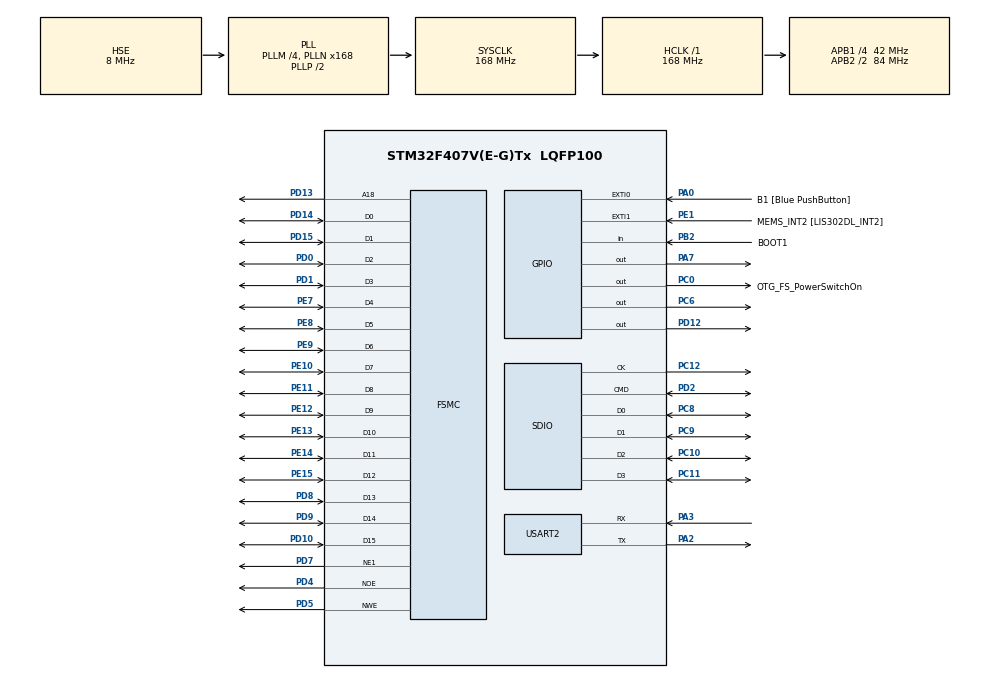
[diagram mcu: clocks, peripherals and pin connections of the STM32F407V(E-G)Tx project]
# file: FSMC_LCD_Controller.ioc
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FATFS.BSP.number=1
FATFS._FS_LOCK=5
FATFS._MAX_SS=4096
FATFS._USE_LFN=1
FATFS0.BSP.STBoard=false
FATFS0.BSP.api=Unknown
FATFS0.BSP.i2caddr=0
FATFS0.BSP.instance=PB2
FATFS0.BSP.ip=GPIO
FATFS0.BSP.mode=Input
FATFS0.BSP.name=Detect_SDIO
FATFS0.BSP.solution=PB2
FSMC.AddressSetupTime1=6
FSMC.BusTurnAroundDuration1=0
FSMC.DataSetupTime1=3
Mcu.Family=STM32F4
Mcu.Name=STM32F407V(E-G)Tx
Mcu.Package=LQFP100
NVIC.PriorityGroup=NVIC_PRIORITYGROUP_0
NVIC.TIM1_BRK_TIM9_IRQn=true\:0\:0\:false\:false\:true\:true\:true
NVIC.TIM6_DAC_IRQn=true\:0\:0\:false\:false\:true\:false\:true
NVIC.TimeBase=TIM6_DAC_IRQn
NVIC.TimeBaseIP=TIM6
NVIC.USART2_IRQn=true\:0\:0\:false\:false\:true\:true\:true
PA0-WKUP.GPIO_Label=B1 [Blue PushButton]
PA0-WKUP.Signal=GPXTI0
PA10.GPIO_Label=OTG_FS_ID
PA10.GPIO_Mode=GPIO_MODE_AF_PP
PA10.GPIO_PuPd=GPIO_NOPULL
PA10.GPIO_Speed=GPIO_SPEED_FREQ_LOW
PA10.Signal=USB_OTG_FS_ID
PA11.GPIO_Label=OTG_FS_DM
PA11.GPIO_Mode=GPIO_MODE_AF_PP
PA11.GPIO_PuPd=GPIO_NOPULL
PA11.GPIO_Speed=GPIO_SPEED_FREQ_LOW
PA11.Signal=USB_OTG_FS_DM
PA12.GPIO_Label=OTG_FS_DP
PA12.GPIO_Mode=GPIO_MODE_AF_PP
PA12.GPIO_PuPd=GPIO_NOPULL
PA12.GPIO_Speed=GPIO_SPEED_FREQ_LOW
PA12.Signal=USB_OTG_FS_DP
PA13.GPIO_Label=SWDIO
PA13.Mode=Trace_Asynchronous_SW
PA13.Signal=SYS_JTMS-SWDIO
PA14.GPIO_Label=SWCLK
PA14.Mode=Trace_Asynchronous_SW
PA14.Signal=SYS_JTCK-SWCLK
PA2.Mode=Asynchronous
PA2.Signal=USART2_TX
PA3.Mode=Asynchronous
PA3.Signal=USART2_RX
PA4.GPIO_Label=I2S3_WS [CS43L22_LRCK]
PA4.GPIO_Mode=GPIO_MODE_AF_PP
PA4.GPIO_PuPd=GPIO_NOPULL
PA4.GPIO_Speed=GPIO_SPEED_FREQ_LOW
PA4.Signal=I2S3_WS
PA5.GPIO_Label=SPI1_SCK [LIS302DL_SCL/SPC]
PA5.GPIO_Mode=GPIO_MODE_AF_PP
PA5.GPIO_PuPd=GPIO_NOPULL
PA5.GPIO_Speed=GPIO_SPEED_FREQ_LOW
PA5.Signal=SPI1_SCK
PA6.GPIO_Label=SPI1_MISO [LIS302DL_SDO]
PA6.GPIO_Mode=GPIO_MODE_AF_PP
PA6.GPIO_PuPd=GPIO_NOPULL
PA6.GPIO_Speed=GPIO_SPEED_FREQ_LOW
PA6.Signal=SPI1_MISO
PA7.Signal=GPIO_Output
PA9.GPIO_Label=VBUS_FS
PA9.GPIO_Mode=GPIO_MODE_INPUT
PA9.GPIO_PuPd=GPIO_NOPULL
PA9.Signal=USB_OTG_FS_VBUS
PB10.GPIO_Label=CLK_IN [MP45DT02_CLK]
PB10.GPIO_Mode=GPIO_MODE_AF_PP
PB10.GPIO_PuPd=GPIO_NOPULL
PB10.GPIO_Speed=GPIO_SPEED_FREQ_LOW
PB10.Signal=I2S2_CK
PB2.GPIO_Label=BOOT1
PB2.GPIO_Mode=GPIO_MODE_INPUT
PB2.GPIO_PuPd=GPIO_NOPULL
PB2.Signal=GPIO_Input
PB3.GPIO_Label=SWO
PB3.Mode=Trace_Asynchronous_SW
PB3.Signal=SYS_JTDO-SWO
PB6.GPIO_Label=Audio_SCL [CS43L22_SCL]
PB6.GPIO_Mode=GPIO_MODE_AF_OD
PB6.GPIO_PuPd=GPIO_NOPULL
PB6.GPIO_Speed=GPIO_SPEED_FREQ_LOW
PB6.Signal=I2C1_SCL
PC0.GPIO_Label=OTG_FS_PowerSwitchOn
PC0.GPIO_PuPd=GPIO_NOPULL
PC0.GPIO_Speed=GPIO_SPEED_FREQ_LOW
PC0.PinState=GPIO_PIN_SET
PC0.Signal=GPIO_Output
PC10.Mode=SD_4_bits_Wide_bus
PC10.Signal=SDIO_D2
PC11.Mode=SD_4_bits_Wide_bus
PC11.Signal=SDIO_D3
PC12.Mode=SD_4_bits_Wide_bus
PC12.Signal=SDIO_CK
PC14-OSC32_IN.GPIO_Label=PC14-OSC32_IN
PC14-OSC32_IN.Signal=RCC_OSC32_IN
PC15-OSC32_OUT.GPIO_Label=PC15-OSC32_OUT
PC15-OSC32_OUT.Signal=RCC_OSC32_OUT
PC3.GPIO_Label=PDM_OUT [MP45DT02_DOUT]
PC3.GPIO_Mode=GPIO_MODE_AF_PP
PC3.GPIO_PuPd=GPIO_NOPULL
PC3.GPIO_Speed=GPIO_SPEED_FREQ_LOW
PC3.Signal=I2S2_SD
PC6.Signal=GPIO_Output
PC8.Mode=SD_4_bits_Wide_bus
PC8.Signal=SDIO_D0
PC9.Mode=SD_4_bits_Wide_bus
PC9.Signal=SDIO_D1
PD0.Mode=16b-d1
PD0.Signal=FSMC_D2
PD1.Mode=16b-d1
PD1.Signal=FSMC_D3
PD10.Mode=16b-d1
PD10.Signal=FSMC_D15
PD12.Signal=GPIO_Output
PD13.Mode=A18_1
PD13.Signal=FSMC_A18
PD14.Mode=16b-d1
PD14.Signal=FSMC_D0
PD15.Mode=16b-d1
PD15.Signal=FSMC_D1
PD2.Mode=SD_4_bits_Wide_bus
PD2.Signal=SDIO_CMD
PD4.Mode=Lcd1
PD4.Signal=FSMC_NOE
PD5.Mode=Lcd1
PD5.Signal=FSMC_NWE
PD7.Mode=NorPsramChipSelect1_1
PD7.Signal=FSMC_NE1
PD8.Mode=16b-d1
PD8.Signal=FSMC_D13
PD9.Mode=16b-d1
PD9.Signal=FSMC_D14
PE1.GPIO_Label=MEMS_INT2 [LIS302DL_INT2]
PE1.GPIO_ModeDefaultEXTI=GPIO_MODE_EVT_RISING
PE1.GPIO_PuPd=GPIO_NOPULL
PE1.Signal=GPXTI1
PE10.Mode=16b-d1
PE10.Signal=FSMC_D7
PE11.Mode=16b-d1
PE11.Signal=FSMC_D8
PE12.Mode=16b-d1
PE12.Signal=FSMC_D9
PE13.Mode=16b-d1
PE13.Signal=FSMC_D10
PE14.Mode=16b-d1
PE14.Signal=FSMC_D11
PE15.Mode=16b-d1
PE15.Signal=FSMC_D12
PE7.Mode=16b-d1
PE7.Signal=FSMC_D4
PE8.Mode=16b-d1
PE8.Signal=FSMC_D5
PE9.Mode=16b-d1
PE9.Signal=FSMC_D6
PH0-OSC_IN.GPIO_Label=PH0-OSC_IN
PH0-OSC_IN.Mode=HSE-External-Oscillator
PH0-OSC_IN.Signal=RCC_OSC_IN
PH1-OSC_OUT.GPIO_Label=PH1-OSC_OUT
PH1-OSC_OUT.Mode=HSE-External-Oscillator
PH1-OSC_OUT.Signal=RCC_OSC_OUT
ProjectManager.HeapSize=0x200
ProjectManager.StackSize=0x400
ProjectManager.TargetToolchain=STM32CubeIDE
RCC.48MHZClocksFreq_Value=48000000
RCC.AHBFreq_Value=168000000
RCC.APB1CLKDivider=RCC_HCLK_DIV4
RCC.APB1Freq_Value=42000000
RCC.APB1TimFreq_Value=84000000
RCC.APB2CLKDivider=RCC_HCLK_DIV2
RCC.APB2Freq_Value=84000000
RCC.APB2TimFreq_Value=168000000
RCC.CortexFreq_Value=168000000
RCC.HCLKFreq_Value=168000000
RCC.HSE_VALUE=8000000
RCC.HSI_VALUE=16000000
RCC.LSE_VALUE=32768
RCC.PLLM=4
RCC.PLLN=168
RCC.PLLQ=7
RCC.PLLSourceVirtual=RCC_PLLSOURCE_HSE
RCC.RCC_RTC_Clock_Source=RCC_RTCCLKSOURCE_LSI
RCC.RCC_RTC_Clock_SourceVirtual=RCC_RTCCLKSOURCE_LSE
RCC.SYSCLKFreq_VALUE=168000000
RCC.SYSCLKSource=RCC_SYSCLKSOURCE_PLLCLK
RCC.VCOOutputFreq_Value=336000000
TIM9.Period=5713
TIM9.Prescaler=209
USART2.VirtualMode=VM_ASYNC
VP_FATFS_VS_SDIO.Mode=SDIO
VP_LIBJPEG_VS_JPEGLIB.Mode=Enabled
VP_SYS_VS_tim6.Mode=TIM6
VP_TIM9_VS_ClockSourceINT.Mode=Internal
board=STM32F407G-DISC1

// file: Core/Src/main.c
/* USER CODE BEGIN Header */
/**
  ******************************************************************************
  * @file           : main.c
  * @brief          : Program connects to a LCD screen using FSMC and performs a screen display demo.
  * 				  Program is configured for an ILI9341 device using 16-bit parallel interface.
  ******************************************************************************
  * @attention
  *
  * <h2><center>&copy; Copyright (c) 2020 STMicroelectronics.
  * All rights reserved.</center></h2>
  *
  * This software component is licensed by ST under BSD 3-Clause license,
  * the "License"; You may not use this file except in compliance with the
  * License. You may obtain a copy of the License at:
  *                        opensource.org/licenses/BSD-3-Clause
  *
  ******************************************************************************
  */
/* USER CODE END Header */

#include "main.h"
#include "fatfs.h"
#include "libjpeg.h"

/* USER CODE BEGIN Includes */
#include "MA_ILI9341.h"
#include "ColorCycle.h"
/* USER CODE END Includes */

SD_HandleTypeDef hsd;

TIM_HandleTypeDef htim9;

UART_HandleTypeDef huart2;

SRAM_HandleTypeDef hsram1;

/* USER CODE BEGIN PV */

char user_msg[100];
uint8_t framebuffer[76800];

extern const tImage frame_00_delays;
extern const tImage frame_03_delays;
extern const tImage frame_06_delays;
extern const tImage frame_09_delays;
extern const tImage frame_12_delays;

/* USER CODE END PV */

void SystemClock_Config(void);
static void MX_GPIO_Init(void);
static void MX_FSMC_Init(void);
static void MX_SDIO_SD_Init(void);
static void MX_USART2_UART_Init(void);
static void MX_TIM9_Init(void);
/* USER CODE BEGIN PFP */
long map(long x, long in_min, long in_max, long out_min, long out_max);
/* USER CODE END PFP */

/* USER CODE BEGIN 0 */

long map(long x, long in_min, long in_max, long out_min, long out_max)
{
  return (x - in_min) * (out_max - out_min) / (in_max - in_min) + out_min;
}

/* USER CODE END 0 */

int main(void)
{

  /* MCU Configuration--------------------------------------------------------*/

  /* Reset of all peripherals, Initializes the Flash interface and the Systick. */
  HAL_Init();

  /* Configure the system clock */
  SystemClock_Config();

  /* Initialize all configured peripherals */
  MX_GPIO_Init();
  MX_FSMC_Init();
  MX_SDIO_SD_Init();
  MX_FATFS_Init();
  MX_LIBJPEG_Init();
  MX_USART2_UART_Init();
  MX_TIM9_Init();
  /* USER CODE BEGIN 2 */

  //Reset the LCD
  GPIOC->ODR &= ~(1 << 6);
  HAL_Delay(100);
  GPIOC->ODR |= (1 << 6);

  //Initialize and turn on LCD
  ILI9341_Init();

  //Set screen orientation to landscape and set frame writing area
  ILI9341_setRotation(2);
  ILI9341_SendCommand (ILI9341_COLUMN_ADDR); // column set
  ILI9341_SendData   (0x00); // y0_HIGH---0
  ILI9341_SendData   (0x00); // y0_LOW----0
  ILI9341_SendData   (0x01); // y1_HIGH---320
  ILI9341_SendData   (0x3F); // y1_LOW----320
  ILI9341_SendCommand (ILI9341_PAGE_ADDR); // page address set
  ILI9341_SendData   (0x00); // x0_HIGH---0
  ILI9341_SendData   (0x00); // x0_LOW----0
  ILI9341_SendData   (0x00); // x1_HIGH---240
  ILI9341_SendData   (0xEF); // x1_LOW----240
  HAL_Delay(100);

//  //Start 70Hz timer
//  HAL_TIM_Base_Start_IT(&htim9);

//  //Perform 60 alternating screen color cycles
//  for(int i = 0; i < 30; i++) {
//	  ILI9341_Fill(COLOR_BLUE);
//	  ILI9341_Fill(COLOR_RED);
//  }

  //Start color hue rotation demo
  uint16_t color = 0;
  CRGB rgb;

  while(true) {
	  rgb.r = 0;
	  rgb.b	= 255;
	  rgb.g = 0;

	  for(int p = 0; p < 30; p++) {
		  rgb = TransformH(&rgb, p);
	  }

	  for(int k = 0; k < 50; k++) {
		  rgb = TransformH(&rgb, k);

		  rgb.r2 = map(rgb.r, 0, 255, 0, 31);
		  rgb.g2 = map(rgb.g, 0, 255, 0, 31);
		  rgb.b2 = map(rgb.b, 0, 255, 0, 31);

	  	  color = 0;
	  	  color |= (rgb.r2 << 11);
	  	  color |= (rgb.g2 << 5);
	  	  color |= rgb.b2;

	  	  for(int i =0; i < 320; i++) {
			  for(int j = 0; j < 240; j++) {
				  ILI9341_DrawPixel(i, j, color);
			  }
		  }
	  }

  }

//  //Display picture animation
//  uint32_t delay = 75;
//  while (1)
//  {
//	  ILI9341_Display_Image(&frame_00_delays, 76800);
//	  HAL_Delay(delay);
//	  ILI9341_Display_Image(&frame_03_delays, 76800);
//	  HAL_Delay(delay);
//	  ILI9341_Display_Image(&frame_06_delays, 76800);
//	  HAL_Delay(delay);
//	  ILI9341_Display_Image(&frame_09_delays, 76800);
//	  HAL_Delay(delay);
//	  ILI9341_Display_Image(&frame_12_delays, 76800);
//	  HAL_Delay(delay);
//
//	  ILI9341_Fill(COLOR_BLACK);
//	  HAL_Delay(delay);
//	  ILI9341_Fill(COLOR_BLACK);
//	  HAL_Delay(delay);
//	  ILI9341_Fill(COLOR_BLACK);
//	  HAL_Delay(delay);
//	  ILI9341_Fill(COLOR_BLACK);
//	  HAL_Delay(delay);
//	  ILI9341_Fill(COLOR_BLACK);
//	  HAL_Delay(delay);
//  }

  /* USER CODE END 2 */

  /* Infinite loop */
  while (1)
  {

  }
}

void SystemClock_Config(void)
{
  RCC_OscInitTypeDef RCC_OscInitStruct = {0};
  RCC_ClkInitTypeDef RCC_ClkInitStruct = {0};

  /** Configure the main internal regulator output voltage
  */
  __HAL_RCC_PWR_CLK_ENABLE();
  __HAL_PWR_VOLTAGESCALING_CONFIG(PWR_REGULATOR_VOLTAGE_SCALE1);
  /** Initializes the CPU, AHB and APB busses clocks
  */
  RCC_OscInitStruct.OscillatorType = RCC_OSCILLATORTYPE_HSE;
  RCC_OscInitStruct.HSEState = RCC_HSE_ON;
  RCC_OscInitStruct.PLL.PLLState = RCC_PLL_ON;
  RCC_OscInitStruct.PLL.PLLSource = RCC_PLLSOURCE_HSE;
  RCC_OscInitStruct.PLL.PLLM = 4;
  RCC_OscInitStruct.PLL.PLLN = 168;
  RCC_OscInitStruct.PLL.PLLP = RCC_PLLP_DIV2;
  RCC_OscInitStruct.PLL.PLLQ = 7;
  if (HAL_RCC_OscConfig(&RCC_OscInitStruct) != HAL_OK)
  {
    Error_Handler();
  }
  /** Initializes the CPU, AHB and APB busses clocks
  */
  RCC_ClkInitStruct.ClockType = RCC_CLOCKTYPE_HCLK|RCC_CLOCKTYPE_SYSCLK
                              |RCC_CLOCKTYPE_PCLK1|RCC_CLOCKTYPE_PCLK2;
  RCC_ClkInitStruct.SYSCLKSource = RCC_SYSCLKSOURCE_PLLCLK;
  RCC_ClkInitStruct.AHBCLKDivider = RCC_SYSCLK_DIV1;
  RCC_ClkInitStruct.APB1CLKDivider = RCC_HCLK_DIV4;
  RCC_ClkInitStruct.APB2CLKDivider = RCC_HCLK_DIV2;

  if (HAL_RCC_ClockConfig(&RCC_ClkInitStruct, FLASH_LATENCY_5) != HAL_OK)
  {
    Error_Handler();
  }
}

static void MX_SDIO_SD_Init(void)
{

  hsd.Instance = SDIO;
  hsd.Init.ClockEdge = SDIO_CLOCK_EDGE_RISING;
  hsd.Init.ClockBypass = SDIO_CLOCK_BYPASS_DISABLE;
  hsd.Init.ClockPowerSave = SDIO_CLOCK_POWER_SAVE_DISABLE;
  hsd.Init.BusWide = SDIO_BUS_WIDE_1B;
  hsd.Init.HardwareFlowControl = SDIO_HARDWARE_FLOW_CONTROL_DISABLE;
  hsd.Init.ClockDiv = 0;

}

static void MX_TIM9_Init(void)
{

  TIM_ClockConfigTypeDef sClockSourceConfig = {0};

  htim9.Instance = TIM9;
  htim9.Init.Prescaler = 209;
  htim9.Init.CounterMode = TIM_COUNTERMODE_UP;
  htim9.Init.Period = 5713;
  htim9.Init.ClockDivision = TIM_CLOCKDIVISION_DIV1;
  htim9.Init.AutoReloadPreload = TIM_AUTORELOAD_PRELOAD_DISABLE;
  if (HAL_TIM_Base_Init(&htim9) != HAL_OK)
  {
    Error_Handler();
  }
  sClockSourceConfig.ClockSource = TIM_CLOCKSOURCE_INTERNAL;
  if (HAL_TIM_ConfigClockSource(&htim9, &sClockSourceConfig) != HAL_OK)
  {
    Error_Handler();
  }

}

static void MX_USART2_UART_Init(void)
{

  huart2.Instance = USART2;
  huart2.Init.BaudRate = 115200;
  huart2.Init.WordLength = UART_WORDLENGTH_8B;
  huart2.Init.StopBits = UART_STOPBITS_1;
  huart2.Init.Parity = UART_PARITY_NONE;
  huart2.Init.Mode = UART_MODE_TX_RX;
  huart2.Init.HwFlowCtl = UART_HWCONTROL_NONE;
  huart2.Init.OverSampling = UART_OVERSAMPLING_16;
  if (HAL_UART_Init(&huart2) != HAL_OK)
  {
    Error_Handler();
  }

}

static void MX_GPIO_Init(void)
{
  GPIO_InitTypeDef GPIO_InitStruct = {0};

  /* GPIO Ports Clock Enable */
  __HAL_RCC_GPIOC_CLK_ENABLE();
  __HAL_RCC_GPIOH_CLK_ENABLE();
  __HAL_RCC_GPIOA_CLK_ENABLE();
  __HAL_RCC_GPIOB_CLK_ENABLE();
  __HAL_RCC_GPIOE_CLK_ENABLE();
  __HAL_RCC_GPIOD_CLK_ENABLE();

  /*Configure GPIO pin Output Level */
  HAL_GPIO_WritePin(OTG_FS_PowerSwitchOn_GPIO_Port, OTG_FS_PowerSwitchOn_Pin, GPIO_PIN_SET);

  /*Configure GPIO pin Output Level */
  HAL_GPIO_WritePin(GPIOA, GPIO_PIN_7, GPIO_PIN_RESET);

  /*Configure GPIO pin Output Level */
  HAL_GPIO_WritePin(GPIOD, GPIO_PIN_12, GPIO_PIN_RESET);

  /*Configure GPIO pin Output Level */
  HAL_GPIO_WritePin(GPIOC, GPIO_PIN_6, GPIO_PIN_RESET);

  /*Configure GPIO pins : OTG_FS_PowerSwitchOn_Pin PC6 */
  GPIO_InitStruct.Pin = OTG_FS_PowerSwitchOn_Pin|GPIO_PIN_6;
  GPIO_InitStruct.Mode = GPIO_MODE_OUTPUT_PP;
  GPIO_InitStruct.Pull = GPIO_NOPULL;
  GPIO_InitStruct.Speed = GPIO_SPEED_FREQ_LOW;
  HAL_GPIO_Init(GPIOC, &GPIO_InitStruct);

  /*Configure GPIO pin : PDM_OUT_Pin */
  GPIO_InitStruct.Pin = PDM_OUT_Pin;
  GPIO_InitStruct.Mode = GPIO_MODE_AF_PP;
  GPIO_InitStruct.Pull = GPIO_NOPULL;
  GPIO_InitStruct.Speed = GPIO_SPEED_FREQ_LOW;
  GPIO_InitStruct.Alternate = GPIO_AF5_SPI2;
  HAL_GPIO_Init(PDM_OUT_GPIO_Port, &GPIO_InitStruct);

  /*Configure GPIO pin : B1_Pin */
  GPIO_InitStruct.Pin = B1_Pin;
  GPIO_InitStruct.Mode = GPIO_MODE_IT_RISING;
  GPIO_InitStruct.Pull = GPIO_NOPULL;
  HAL_GPIO_Init(B1_GPIO_Port, &GPIO_InitStruct);

  /*Configure GPIO pin : I2S3_WS_Pin */
  GPIO_InitStruct.Pin = I2S3_WS_Pin;
  GPIO_InitStruct.Mode = GPIO_MODE_AF_PP;
  GPIO_InitStruct.Pull = GPIO_NOPULL;
  GPIO_InitStruct.Speed = GPIO_SPEED_FREQ_LOW;
  GPIO_InitStruct.Alternate = GPIO_AF6_SPI3;
  HAL_GPIO_Init(I2S3_WS_GPIO_Port, &GPIO_InitStruct);

  /*Configure GPIO pins : SPI1_SCK_Pin SPI1_MISO_Pin */
  GPIO_InitStruct.Pin = SPI1_SCK_Pin|SPI1_MISO_Pin;
  GPIO_InitStruct.Mode = GPIO_MODE_AF_PP;
  GPIO_InitStruct.Pull = GPIO_NOPULL;
  GPIO_InitStruct.Speed = GPIO_SPEED_FREQ_LOW;
  GPIO_InitStruct.Alternate = GPIO_AF5_SPI1;
  HAL_GPIO_Init(GPIOA, &GPIO_InitStruct);

  /*Configure GPIO pin : PA7 */
  GPIO_InitStruct.Pin = GPIO_PIN_7;
  GPIO_InitStruct.Mode = GPIO_MODE_OUTPUT_PP;
  GPIO_InitStruct.Pull = GPIO_NOPULL;
  GPIO_InitStruct.Speed = GPIO_SPEED_FREQ_LOW;
  HAL_GPIO_Init(GPIOA, &GPIO_InitStruct);

  /*Configure GPIO pin : BOOT1_Pin */
  GPIO_InitStruct.Pin = BOOT1_Pin;
  GPIO_InitStruct.Mode = GPIO_MODE_INPUT;
  GPIO_InitStruct.Pull = GPIO_NOPULL;
  HAL_GPIO_Init(BOOT1_GPIO_Port, &GPIO_InitStruct);

  /*Configure GPIO pin : CLK_IN_Pin */
  GPIO_InitStruct.Pin = CLK_IN_Pin;
  GPIO_InitStruct.Mode = GPIO_MODE_AF_PP;
  GPIO_InitStruct.Pull = GPIO_NOPULL;
  GPIO_InitStruct.Speed = GPIO_SPEED_FREQ_LOW;
  GPIO_InitStruct.Alternate = GPIO_AF5_SPI2;
  HAL_GPIO_Init(CLK_IN_GPIO_Port, &GPIO_InitStruct);

  /*Configure GPIO pin : PD12 */
  GPIO_InitStruct.Pin = GPIO_PIN_12;
  GPIO_InitStruct.Mode = GPIO_MODE_OUTPUT_PP;
  GPIO_InitStruct.Pull = GPIO_NOPULL;
  GPIO_InitStruct.Speed = GPIO_SPEED_FREQ_LOW;
  HAL_GPIO_Init(GPIOD, &GPIO_InitStruct);

  /*Configure GPIO pin : VBUS_FS_Pin */
  GPIO_InitStruct.Pin = VBUS_FS_Pin;
  GPIO_InitStruct.Mode = GPIO_MODE_INPUT;
  GPIO_InitStruct.Pull = GPIO_NOPULL;
  HAL_GPIO_Init(VBUS_FS_GPIO_Port, &GPIO_InitStruct);

  /*Configure GPIO pins : OTG_FS_ID_Pin OTG_FS_DM_Pin OTG_FS_DP_Pin */
  GPIO_InitStruct.Pin = OTG_FS_ID_Pin|OTG_FS_DM_Pin|OTG_FS_DP_Pin;
  GPIO_InitStruct.Mode = GPIO_MODE_AF_PP;
  GPIO_InitStruct.Pull = GPIO_NOPULL;
  GPIO_InitStruct.Speed = GPIO_SPEED_FREQ_LOW;
  GPIO_InitStruct.Alternate = GPIO_AF10_OTG_FS;
  HAL_GPIO_Init(GPIOA, &GPIO_InitStruct);

  /*Configure GPIO pin : Audio_SCL_Pin */
  GPIO_InitStruct.Pin = Audio_SCL_Pin;
  GPIO_InitStruct.Mode = GPIO_MODE_AF_OD;
  GPIO_InitStruct.Pull = GPIO_PULLUP;
  GPIO_InitStruct.Speed = GPIO_SPEED_FREQ_LOW;
  GPIO_InitStruct.Alternate = GPIO_AF4_I2C1;
  HAL_GPIO_Init(Audio_SCL_GPIO_Port, &GPIO_InitStruct);

  /*Configure GPIO pin : MEMS_INT2_Pin */
  GPIO_InitStruct.Pin = MEMS_INT2_Pin;
  GPIO_InitStruct.Mode = GPIO_MODE_EVT_RISING;
  GPIO_InitStruct.Pull = GPIO_NOPULL;
  HAL_GPIO_Init(MEMS_INT2_GPIO_Port, &GPIO_InitStruct);

}

/* FSMC initialization function */
static void MX_FSMC_Init(void)
{

  FSMC_NORSRAM_TimingTypeDef Timing = {0};

  /** Perform the SRAM1 memory initialization sequence
  */
  hsram1.Instance = FSMC_NORSRAM_DEVICE;
  hsram1.Extended = FSMC_NORSRAM_EXTENDED_DEVICE;
  /* hsram1.Init */
  hsram1.Init.NSBank = FSMC_NORSRAM_BANK1;
  hsram1.Init.DataAddressMux = FSMC_DATA_ADDRESS_MUX_DISABLE;
  hsram1.Init.MemoryType = FSMC_MEMORY_TYPE_SRAM;
  hsram1.Init.MemoryDataWidth = FSMC_NORSRAM_MEM_BUS_WIDTH_16;
  hsram1.Init.BurstAccessMode = FSMC_BURST_ACCESS_MODE_DISABLE;
  hsram1.Init.WaitSignalPolarity = FSMC_WAIT_SIGNAL_POLARITY_LOW;
  hsram1.Init.WrapMode = FSMC_WRAP_MODE_DISABLE;
  hsram1.Init.WaitSignalActive = FSMC_WAIT_TIMING_BEFORE_WS;
  hsram1.Init.WriteOperation = FSMC_WRITE_OPERATION_ENABLE;
  hsram1.Init.WaitSignal = FSMC_WAIT_SIGNAL_DISABLE;
  hsram1.Init.ExtendedMode = FSMC_EXTENDED_MODE_DISABLE;
  hsram1.Init.AsynchronousWait = FSMC_ASYNCHRONOUS_WAIT_DISABLE;
  hsram1.Init.WriteBurst = FSMC_WRITE_BURST_DISABLE;
  hsram1.Init.PageSize = FSMC_PAGE_SIZE_NONE;
  /* Timing */
  Timing.AddressSetupTime = 6;
  Timing.AddressHoldTime = 15;
  Timing.DataSetupTime = 3;
  Timing.BusTurnAroundDuration = 0;
  Timing.CLKDivision = 16;
  Timing.DataLatency = 17;
  Timing.AccessMode = FSMC_ACCESS_MODE_A;
  /* ExtTiming */

  if (HAL_SRAM_Init(&hsram1, &Timing, NULL) != HAL_OK)
  {
    Error_Handler( );
  }

}

/* USER CODE BEGIN 4 */

uint8_t skipPeriod = 0;

/* USER CODE END 4 */

 /**
  * @brief  Period elapsed callback in non blocking mode
  * @note   This function is called  when TIM6 interrupt took place, inside
  * HAL_TIM_IRQHandler(). It makes a direct call to HAL_IncTick() to increment
  * a global variable "uwTick" used as application time base.
  * @param  htim : TIM handle
  * @retval None
  */
void HAL_TIM_PeriodElapsedCallback(TIM_HandleTypeDef *htim)
{
  if (htim->Instance == TIM6) {
    HAL_IncTick();
  }
  /* USER CODE BEGIN Callback 1 */

  if (htim->Instance == TIM9) {
 	   	   GPIOD->ODR ^= (1 << 12);

 	   	   if(!skipPeriod) {
 		  	   //Read Scan line
 		  	   ILI9341_SendCommand(0x45);
 		  	   uint8_t parm1 = ILI9341_ReadData();
 		  	   uint8_t parm2 = ILI9341_ReadData();
 		  	   uint8_t parm3 = ILI9341_ReadData();

 		  	   uint16_t scanline = 0;
 		  	   parm2 &= 0x3;
 		  	   scanline |= (parm2 << 8);
 		  	   scanline |= parm3;

 		  	   sprintf(user_msg, "Scan line returned = %d\r\n", scanline);
 		  	   HAL_UART_Transmit_IT(&huart2, (uint8_t *)user_msg, strlen(user_msg));
 	   	   }
 	   	   skipPeriod ^=  1;
  }
  /* USER CODE END Callback 1 */
}

void Error_Handler(void)
{
}

/************************ (C) COPYRIGHT STMicroelectronics *****END OF FILE****/
